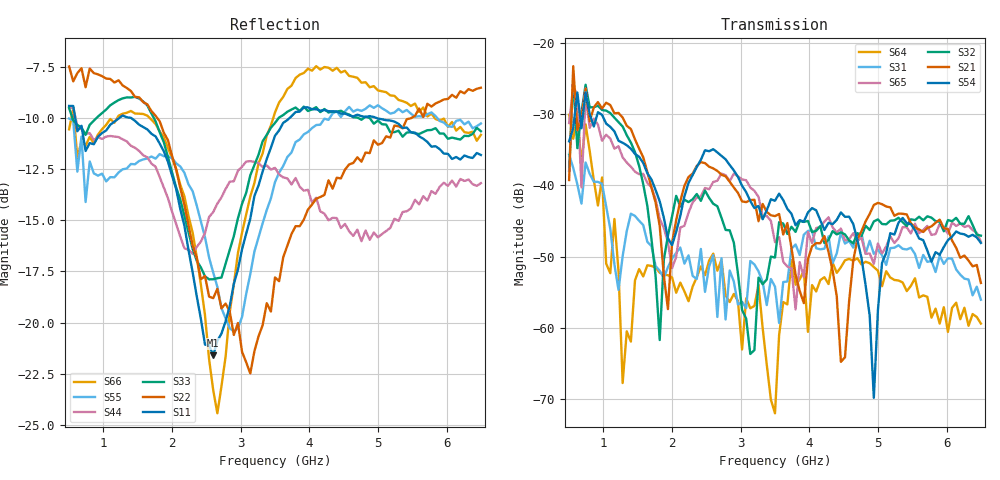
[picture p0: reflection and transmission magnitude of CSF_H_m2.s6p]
!Keysight Technologies,M9804A,MY58100912,A.14.10.03
!Date: Thursday, April 27, 2023 10:28:33
!Correction: S11(C  6-Port  )
!S12(C  6-Port  )
!S13(C  6-Port  )
!S14(C  6-Port  )
!S15(C  6-Port  )
!S16(C  6-Port  )
!S21(C  6-Port  )
!S22(C  6-Port  )
!S23(C  6-Port  )
!S24(C  6-Port  )
!S25(C  6-Port  )
!S26(C  6-Port  )
!S31(C  6-Port  )
!S32(C  6-Port  )
!S33(C  6-Port  )
!S34(C  6-Port  )
!S35(C  6-Port  )
!S36(C  6-Port  )
!S41(C  6-Port  )
!S42(C  6-Port  )
!S43(C  6-Port  )
!S44(C  6-Port  )
!S45(C  6-Port  )
!S46(C  6-Port  )
!S51(C  6-Port  )
!S52(C  6-Port  )
!S53(C  6-Port  )
!S54(C  6-Port  )
!S55(C  6-Port  )
!S56(C  6-Port  )
!S61(C  6-Port  )
!S62(C  6-Port  )
!S63(C  6-Port  )
!S64(C  6-Port  )
!S65(C  6-Port  )
!S66(C  6-Port  )
!S6P File: Measurement: :
# Hz S  RI  R 50
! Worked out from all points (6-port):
!   101 points, 500 MHz to 6.5 GHz, reference 50 ohm
!   strongest paths, dB at 500 MHz, 2 GHz, 3.5 GHz, 5 GHz, 6.5 GHz:
!     S54: -33.8, -48.4, -42.2, -57.4, -48.1
!     S21: -39.3, -48.0, -44.3, -42.5, -53.7
!     S32: -38.0, -44.4, -50.1, -44.8, -47.1
!     S65: -31.3, -51.6, -48.0, -48.2, -47.9
!     S31: -35.7, -50.3, -54.2, -49.0, -56.0
!     S64: -30.1, -52.9, -71.9, -52.0, -59.4
!   lowest |S11| = -21.6 dB at 2.6 GHz (marker M1), VSWR 1.18, Z = 42.6 + j2.02 ohm
!   |S11| at or under -10 dB: 588 MHz to 1.235 GHz (647.2 MHz wide, 71 % of centre); 1.394 GHz to 3.716 GHz (2.322 GHz wide, 90.9 % of centre); 4.97 GHz to end of sweep
